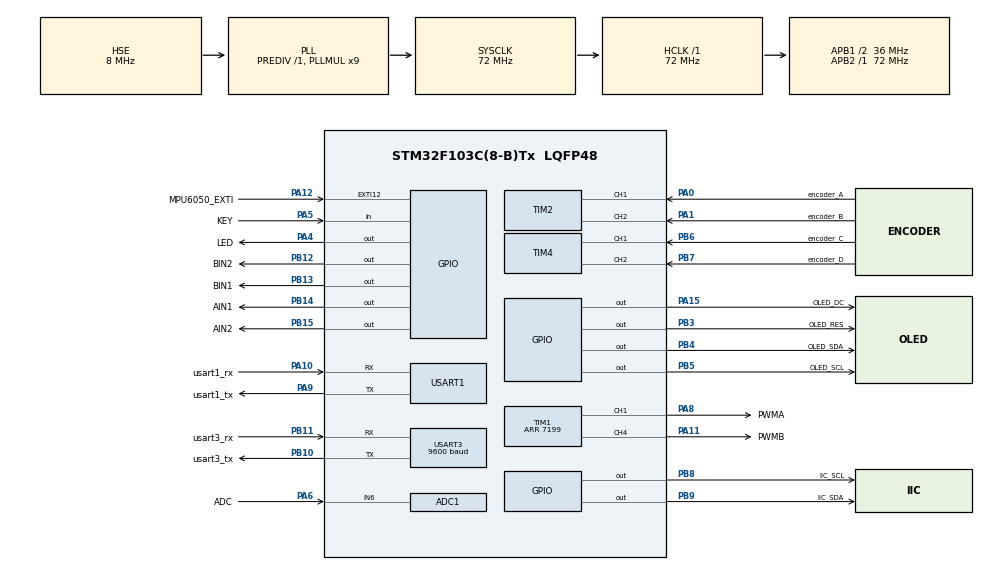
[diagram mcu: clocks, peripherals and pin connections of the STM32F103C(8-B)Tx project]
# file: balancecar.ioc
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ADC1.Channel-0\#ChannelRegularConversion=ADC_CHANNEL_6
ADC1.NbrOfConversionFlag=1
ADC1.Rank-0\#ChannelRegularConversion=1
ADC1.SamplingTime-0\#ChannelRegularConversion=ADC_SAMPLETIME_239CYCLES_5
ADC1.master=1
Mcu.Family=STM32F1
Mcu.Name=STM32F103C(8-B)Tx
Mcu.Package=LQFP48
NVIC.EXTI15_10_IRQn=true\:2\:1\:true\:false\:true\:true\:true
NVIC.PriorityGroup=NVIC_PRIORITYGROUP_2
NVIC.TIM3_IRQn=true\:1\:1\:true\:false\:true\:true\:true
NVIC.USART3_IRQn=true\:0\:1\:false\:false\:true\:true\:true
PA0-WKUP.GPIO_Label=encoder_A
PA0-WKUP.Signal=S_TIM2_CH1_ETR
PA1.GPIO_Label=encoder_B
PA1.Signal=S_TIM2_CH2
PA10.GPIO_Label=usart1_rx
PA10.Mode=Asynchronous
PA10.Signal=USART1_RX
PA11.GPIO_Label=PWMB
PA11.Signal=S_TIM1_CH4
PA12.GPIO_Label=MPU6050_EXTI
PA12.GPIO_ModeDefaultEXTI=GPIO_MODE_IT_FALLING
PA12.GPIO_PuPd=GPIO_PULLUP
PA12.Signal=GPXTI12
PA13.Mode=Serial_Wire
PA13.Signal=SYS_JTMS-SWDIO
PA14.Mode=Serial_Wire
PA14.Signal=SYS_JTCK-SWCLK
PA15.GPIO_Label=OLED_DC
PA15.GPIO_PuPd=GPIO_NOPULL
PA15.GPIO_Speed=GPIO_SPEED_FREQ_MEDIUM
PA15.Signal=GPIO_Output
PA4.GPIO_Label=LED
PA4.GPIO_Speed=GPIO_SPEED_FREQ_HIGH
PA4.PinState=GPIO_PIN_SET
PA4.Signal=GPIO_Output
PA5.GPIO_Label=KEY
PA5.GPIO_PuPd=GPIO_PULLUP
PA5.Signal=GPIO_Input
PA6.GPIO_Label=ADC
PA6.Signal=ADCx_IN6
PA8.GPIO_Label=PWMA
PA8.Signal=S_TIM1_CH1
PA9.GPIO_Label=usart1_tx
PA9.Mode=Asynchronous
PA9.Signal=USART1_TX
PB10.GPIO_Label=usart3_tx
PB10.Mode=Asynchronous
PB10.Signal=USART3_TX
PB11.GPIO_Label=usart3_rx
PB11.Mode=Asynchronous
PB11.Signal=USART3_RX
PB12.GPIO_Label=BIN2
PB12.GPIO_Speed=GPIO_SPEED_FREQ_HIGH
PB12.Signal=GPIO_Output
PB13.GPIO_Label=BIN1
PB13.GPIO_Speed=GPIO_SPEED_FREQ_HIGH
PB13.Signal=GPIO_Output
PB14.GPIO_Label=AIN1
PB14.GPIO_Speed=GPIO_SPEED_FREQ_HIGH
PB14.Signal=GPIO_Output
PB15.GPIO_Label=AIN2
PB15.GPIO_Speed=GPIO_SPEED_FREQ_HIGH
PB15.Signal=GPIO_Output
PB3.GPIO_Label=OLED_RES
PB3.GPIO_Speed=GPIO_SPEED_FREQ_MEDIUM
PB3.Signal=GPIO_Output
PB4.GPIO_Label=OLED_SDA
PB4.GPIO_Speed=GPIO_SPEED_FREQ_MEDIUM
PB4.Signal=GPIO_Output
PB5.GPIO_Label=OLED_SCL
PB5.GPIO_Speed=GPIO_SPEED_FREQ_MEDIUM
PB5.Signal=GPIO_Output
PB6.GPIO_Label=encoder_C
PB6.Signal=S_TIM4_CH1
PB7.GPIO_Label=encoder_D
PB7.Signal=S_TIM4_CH2
PB8.GPIO_Label=IIC_SCL
PB8.GPIO_Speed=GPIO_SPEED_FREQ_HIGH
PB8.PinState=GPIO_PIN_SET
PB8.Signal=GPIO_Output
PB9.GPIO_Label=IIC_SDA
PB9.GPIO_Speed=GPIO_SPEED_FREQ_HIGH
PB9.PinState=GPIO_PIN_SET
PB9.Signal=GPIO_Output
PD0-OSC_IN.Mode=HSE-External-Oscillator
PD0-OSC_IN.Signal=RCC_OSC_IN
PD1-OSC_OUT.Mode=HSE-External-Oscillator
PD1-OSC_OUT.Signal=RCC_OSC_OUT
ProjectManager.HeapSize=0x200
ProjectManager.StackSize=0x400
ProjectManager.TargetToolchain=MDK-ARM V5
RCC.ADCPresc=RCC_ADCPCLK2_DIV6
RCC.AHBFreq_Value=72000000
RCC.APB1CLKDivider=RCC_HCLK_DIV2
RCC.APB1Freq_Value=36000000
RCC.APB1TimFreq_Value=72000000
RCC.APB2Freq_Value=72000000
RCC.APB2TimFreq_Value=72000000
RCC.HCLKFreq_Value=72000000
RCC.PLLMUL=RCC_PLL_MUL9
RCC.PLLSourceVirtual=RCC_PLLSOURCE_HSE
RCC.SYSCLKFreq_VALUE=72000000
RCC.SYSCLKSource=RCC_SYSCLKSOURCE_PLLCLK
RCC.USBFreq_Value=72000000
SH.ADCx_IN6.0=ADC1_IN6,IN6
SH.S_TIM1_CH1.0=TIM1_CH1,PWM Generation1 CH1
SH.S_TIM1_CH4.0=TIM1_CH4,PWM Generation4 CH4
SH.S_TIM2_CH1_ETR.0=TIM2_CH1,Encoder_Interface
SH.S_TIM2_CH2.0=TIM2_CH2,Encoder_Interface
SH.S_TIM4_CH1.0=TIM4_CH1,Encoder_Interface
SH.S_TIM4_CH2.0=TIM4_CH2,Encoder_Interface
TIM1.AutoReloadPreload=TIM_AUTORELOAD_PRELOAD_ENABLE
TIM1.Channel-PWM\ Generation1\ CH1=TIM_CHANNEL_1
TIM1.Channel-PWM\ Generation4\ CH4=TIM_CHANNEL_4
TIM1.Period=7199
TIM2.EncoderMode=TIM_ENCODERMODE_TI12
TIM2.IC1Filter=10
TIM2.IC2Filter=10
TIM3.AutoReloadPreload=TIM_AUTORELOAD_PRELOAD_ENABLE
TIM3.Prescaler=72-1
TIM4.EncoderMode=TIM_ENCODERMODE_TI12
TIM4.IC1Filter=10
USART1.VirtualMode=VM_ASYNC
USART3.BaudRate=9600
USART3.VirtualMode=VM_ASYNC
VP_TIM1_VS_ClockSourceINT.Mode=Internal
VP_TIM3_VS_ClockSourceINT.Mode=Internal
board=custom

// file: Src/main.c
/* USER CODE BEGIN Header */
/**
  ******************************************************************************
  * @file           : main.c
  * @brief          : Main program body
  ******************************************************************************
  * @attention
  *
  * Copyright (c) 2022 STMicroelectronics.
  * All rights reserved.
  *
  * This software is licensed under terms that can be found in the LICENSE file
  * in the root directory of this software component.
  * If no LICENSE file comes with this software, it is provided AS-IS.
  *
  ******************************************************************************
  */
/* USER CODE END Header */
#include "main.h"
#include "adc.h"
#include "tim.h"
#include "usart.h"
#include "gpio.h"

/* USER CODE BEGIN Includes */
#include "sys.h"
/* USER CODE END Includes */

/* USER CODE BEGIN PTD */
float Angle_Balance,Gyro_Balance,Gyro_Turn; //平衡倾角 平衡陀螺仪 转向陀螺仪
float Velocity_Left,Velocity_Right; //车轮速度(mm/s)
int Temperature;    //温度变量
float Acceleration_Z;   //Z轴加速度计
int Voltage;    //电池电压采样相关的变量
volatile u8 delay_flag,delay_50;    //提供延时的变量
u8 Flag_Stop=1,Flag_Show=0; //电机停止标志位和显示标志位  默认停止 OLED显示打开
int Motor_Left,Motor_Right; //电机PWM变量
u8 Flag_front,Flag_back,Flag_Left,Flag_Right,Flag_velocity=2; //蓝牙遥控相关的变量
float Balance_Kp=28000,Balance_Kd=114,Velocity_Kp=38000,Velocity_Ki=190,Turn_Kp=4400,Turn_Kd=55; //PID参数（放大100倍）
u8 PID_Send;    //调参相关变量

/* USER CODE END PTD */

void SystemClock_Config(void);

int main(void)
{

  /* MCU Configuration--------------------------------------------------------*/

  /* Reset of all peripherals, Initializes the Flash interface and the Systick. */
  HAL_Init();

  /* Configure the system clock */
  SystemClock_Config();

  /* Initialize all configured peripherals */
  MX_GPIO_Init();
  MX_ADC1_Init();
  MX_TIM1_Init();
  MX_TIM2_Init();
  MX_TIM3_Init();
  MX_TIM4_Init();
  MX_USART1_UART_Init();
  MX_USART3_UART_Init();
  /* USER CODE BEGIN 2 */
    delay_init();
    OLED_Init();
    MPU6050_initialize();
    DMP_Init();
    HAL_NVIC_EnableIRQ(EXTI15_10_IRQn); //开启引脚外部中断
    StartingDisplay();
  /* USER CODE END 2 */

  /* Infinite loop */
  /* USER CODE BEGIN WHILE */
while (1)
{
    if(Flag_Show==0)    //使用MiniBalance APP和OLED显示屏
    {
        APP_Show(); //发送数据给APP
        Oled_Show();    //显示屏打开
    }
    else    //使用MiniBalance上位机 上位机使用的时候需要严格的时序，故此时关闭app监控部分和OLED显示屏
    {
        DataScope();   //开启MiniBalance上位机，长按按键即可
    }
    delay_flag=1;
    delay_50=0;
    while(delay_flag)   ;  //示波器需要50ms	高精度延时，delay函数不满足要求，故使用MPU6050中断提供50ms延时
}
    /* USER CODE END WHILE */

}

void SystemClock_Config(void)
{
  RCC_OscInitTypeDef RCC_OscInitStruct = {0};
  RCC_ClkInitTypeDef RCC_ClkInitStruct = {0};
  RCC_PeriphCLKInitTypeDef PeriphClkInit = {0};

  /** Initializes the RCC Oscillators according to the specified parameters
  * in the RCC_OscInitTypeDef structure.
  */
  RCC_OscInitStruct.OscillatorType = RCC_OSCILLATORTYPE_HSE;
  RCC_OscInitStruct.HSEState = RCC_HSE_ON;
  RCC_OscInitStruct.HSEPredivValue = RCC_HSE_PREDIV_DIV1;
  RCC_OscInitStruct.HSIState = RCC_HSI_ON;
  RCC_OscInitStruct.PLL.PLLState = RCC_PLL_ON;
  RCC_OscInitStruct.PLL.PLLSource = RCC_PLLSOURCE_HSE;
  RCC_OscInitStruct.PLL.PLLMUL = RCC_PLL_MUL9;
  if (HAL_RCC_OscConfig(&RCC_OscInitStruct) != HAL_OK)
  {
    Error_Handler();
  }
  /** Initializes the CPU, AHB and APB buses clocks
  */
  RCC_ClkInitStruct.ClockType = RCC_CLOCKTYPE_HCLK|RCC_CLOCKTYPE_SYSCLK
                              |RCC_CLOCKTYPE_PCLK1|RCC_CLOCKTYPE_PCLK2;
  RCC_ClkInitStruct.SYSCLKSource = RCC_SYSCLKSOURCE_PLLCLK;
  RCC_ClkInitStruct.AHBCLKDivider = RCC_SYSCLK_DIV1;
  RCC_ClkInitStruct.APB1CLKDivider = RCC_HCLK_DIV2;
  RCC_ClkInitStruct.APB2CLKDivider = RCC_HCLK_DIV1;

  if (HAL_RCC_ClockConfig(&RCC_ClkInitStruct, FLASH_LATENCY_2) != HAL_OK)
  {
    Error_Handler();
  }
  PeriphClkInit.PeriphClockSelection = RCC_PERIPHCLK_ADC;
  PeriphClkInit.AdcClockSelection = RCC_ADCPCLK2_DIV6;
  if (HAL_RCCEx_PeriphCLKConfig(&PeriphClkInit) != HAL_OK)
  {
    Error_Handler();
  }
}

void Error_Handler(void)
{
  __disable_irq();
  while (1)
  {
  }
}
